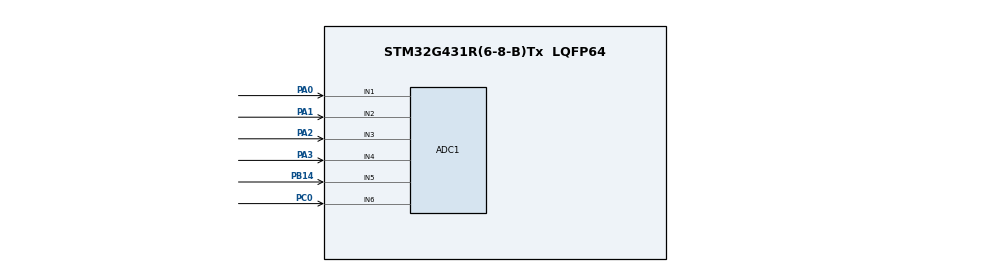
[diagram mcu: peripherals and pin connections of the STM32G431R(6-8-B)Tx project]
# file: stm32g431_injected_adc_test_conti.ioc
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ADC1.Channel-4\#ChannelRegularConversion=ADC_CHANNEL_1
ADC1.Channel-5\#ChannelRegularConversion=ADC_CHANNEL_2
ADC1.Channel-6\#ChannelRegularConversion=ADC_CHANNEL_3
ADC1.Channel-7\#ChannelRegularConversion=ADC_CHANNEL_4
ADC1.Channel-8\#ChannelRegularConversion=ADC_CHANNEL_5
ADC1.Channel-9\#ChannelRegularConversion=ADC_CHANNEL_6
ADC1.ContinuousConvMode=ENABLE
ADC1.DMAContinuousRequests=ENABLE
ADC1.EnableInjectedConversion=ENABLE
ADC1.EnableRegularConversion=ENABLE
ADC1.InjNumberOfConversion=2
ADC1.InjectedChannel-2\#ChannelInjectedConversion=ADC_CHANNEL_1
ADC1.InjectedChannel-3\#ChannelInjectedConversion=ADC_CHANNEL_1
ADC1.InjectedOffsetNumber-2\#ChannelInjectedConversion=ADC_OFFSET_NONE
ADC1.InjectedOffsetNumber-3\#ChannelInjectedConversion=ADC_OFFSET_NONE
ADC1.InjectedRank-2\#ChannelInjectedConversion=1
ADC1.InjectedRank-3\#ChannelInjectedConversion=2
ADC1.InjectedSamplingTime-2\#ChannelInjectedConversion=ADC_SAMPLETIME_2CYCLES_5
ADC1.InjectedSamplingTime-3\#ChannelInjectedConversion=ADC_SAMPLETIME_47CYCLES_5
ADC1.NbrOfConversion=6
ADC1.NbrOfConversionFlag=1
ADC1.OffsetNumber-4\#ChannelRegularConversion=ADC_OFFSET_NONE
ADC1.OffsetNumber-5\#ChannelRegularConversion=ADC_OFFSET_NONE
ADC1.OffsetNumber-6\#ChannelRegularConversion=ADC_OFFSET_NONE
ADC1.OffsetNumber-7\#ChannelRegularConversion=ADC_OFFSET_NONE
ADC1.OffsetNumber-8\#ChannelRegularConversion=ADC_OFFSET_NONE
ADC1.OffsetNumber-9\#ChannelRegularConversion=ADC_OFFSET_NONE
ADC1.Rank-4\#ChannelRegularConversion=1
ADC1.Rank-5\#ChannelRegularConversion=2
ADC1.Rank-6\#ChannelRegularConversion=3
ADC1.Rank-7\#ChannelRegularConversion=4
ADC1.Rank-8\#ChannelRegularConversion=5
ADC1.Rank-9\#ChannelRegularConversion=6
ADC1.SamplingTime-4\#ChannelRegularConversion=ADC_SAMPLETIME_47CYCLES_5
ADC1.SamplingTime-5\#ChannelRegularConversion=ADC_SAMPLETIME_47CYCLES_5
ADC1.SamplingTime-6\#ChannelRegularConversion=ADC_SAMPLETIME_47CYCLES_5
ADC1.SamplingTime-7\#ChannelRegularConversion=ADC_SAMPLETIME_47CYCLES_5
ADC1.SamplingTime-8\#ChannelRegularConversion=ADC_SAMPLETIME_47CYCLES_5
ADC1.SamplingTime-9\#ChannelRegularConversion=ADC_SAMPLETIME_47CYCLES_5
ADC1.master=1
Dma.ADC1.0.Direction=DMA_PERIPH_TO_MEMORY
Dma.ADC1.0.EventEnable=DISABLE
Dma.ADC1.0.Instance=DMA1_Channel1
Dma.ADC1.0.MemDataAlignment=DMA_MDATAALIGN_HALFWORD
Dma.ADC1.0.MemInc=DMA_MINC_ENABLE
Dma.ADC1.0.Mode=DMA_CIRCULAR
Dma.ADC1.0.PeriphDataAlignment=DMA_PDATAALIGN_HALFWORD
Dma.ADC1.0.PeriphInc=DMA_PINC_DISABLE
Dma.ADC1.0.Polarity=HAL_DMAMUX_REQ_GEN_RISING
Dma.ADC1.0.Priority=DMA_PRIORITY_LOW
Dma.ADC1.0.RequestNumber=1
Dma.ADC1.0.SignalID=NONE
Dma.ADC1.0.SyncEnable=DISABLE
Dma.ADC1.0.SyncPolarity=HAL_DMAMUX_SYNC_NO_EVENT
Dma.ADC1.0.SyncRequestNumber=1
Dma.ADC1.0.SyncSignalID=NONE
Dma.Request0=ADC1
Mcu.Family=STM32G4
Mcu.Name=STM32G431R(6-8-B)Tx
Mcu.Package=LQFP64
NVIC.DMA1_Channel1_IRQn=true\:0\:0\:false\:false\:true\:false\:true
NVIC.PriorityGroup=NVIC_PRIORITYGROUP_4
PA0.Mode=IN1-Single-Ended
PA0.Signal=ADC1_IN1
PA1.Mode=IN2-Single-Ended
PA1.Signal=ADC1_IN2
PA13.Mode=Serial_Wire
PA13.Signal=SYS_JTMS-SWDIO
PA14.Mode=Serial_Wire
PA14.Signal=SYS_JTCK-SWCLK
PA2.Mode=IN3-Single-Ended
PA2.Signal=ADC1_IN3
PA3.Mode=IN4-Single-Ended
PA3.Signal=ADC1_IN4
PB14.Mode=IN5-Single-Ended
PB14.Signal=ADC1_IN5
PC0.Mode=IN6-Single-Ended
PC0.Signal=ADC1_IN6
PF0-OSC_IN.Mode=HSE-External-Oscillator
PF0-OSC_IN.Signal=RCC_OSC_IN
PF1-OSC_OUT.Mode=HSE-External-Oscillator
PF1-OSC_OUT.Signal=RCC_OSC_OUT
ProjectManager.HeapSize=0x200
ProjectManager.StackSize=0x400
ProjectManager.TargetToolchain=MDK-ARM V5
RCC.ADC12CLockSelection=RCC_ADC12CLKSOURCE_PLL
RCC.ADC12Freq_Value=48571428.571428575
RCC.AHBFreq_Value=170000000
RCC.APB1Freq_Value=170000000
RCC.APB1TimFreq_Value=170000000
RCC.APB2Freq_Value=170000000
RCC.APB2TimFreq_Value=170000000
RCC.CortexFreq_Value=170000000
RCC.EXTERNAL_CLOCK_VALUE=12288000
RCC.HCLKFreq_Value=170000000
RCC.HSE_VALUE=24000000
RCC.HSI48_VALUE=48000000
RCC.HSI_VALUE=16000000
RCC.LSE_VALUE=32768
RCC.PLLM=RCC_PLLM_DIV6
RCC.PLLN=85
RCC.PLLP=RCC_PLLP_DIV7
RCC.PLLSourceVirtual=RCC_PLLSOURCE_HSE
RCC.SYSCLKFreq_VALUE=170000000
RCC.SYSCLKSource=RCC_SYSCLKSOURCE_PLLCLK
RCC.USBFreq_Value=170000000
RCC.VCOOutputFreq_Value=340000000
VP_SYS_VS_DBSignals.Mode=DisableDeadBatterySignals
board=custom

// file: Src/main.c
/* USER CODE BEGIN Header */
/**
  ******************************************************************************
  * @file           : main.c
  * @brief          : Main program body
  ******************************************************************************
  * @attention
  *
  * <h2><center>&copy; Copyright (c) 2020 STMicroelectronics.
  * All rights reserved.</center></h2>
  *
  * This software component is licensed by ST under BSD 3-Clause license,
  * the "License"; You may not use this file except in compliance with the
  * License. You may obtain a copy of the License at:
  *                        opensource.org/licenses/BSD-3-Clause
  *
  ******************************************************************************
  */
/* USER CODE END Header */

#include "main.h"
#include "adc.h"
#include "dma.h"
#include "gpio.h"

void SystemClock_Config(void);

/* USER CODE BEGIN 0 */
 #define VAR_CONVERTED_DATA_INIT_VALUE    (__LL_ADC_DIGITAL_SCALE(LL_ADC_RESOLUTION_12B) + 1)
 #define ADC_CONVERTED_DATA_BUFFER_SIZE	(6)

__IO uint16_t uhADCxConvertedData[ADC_CONVERTED_DATA_BUFFER_SIZE] = {
	VAR_CONVERTED_DATA_INIT_VALUE,
	VAR_CONVERTED_DATA_INIT_VALUE,
	VAR_CONVERTED_DATA_INIT_VALUE,
	VAR_CONVERTED_DATA_INIT_VALUE,
	VAR_CONVERTED_DATA_INIT_VALUE,
	VAR_CONVERTED_DATA_INIT_VALUE
};
__IO uint16_t uhInjADCxConvertedData1 = VAR_CONVERTED_DATA_INIT_VALUE; /* ADC group regular conversion data */
__IO uint16_t uhInjADCxConvertedData2 = VAR_CONVERTED_DATA_INIT_VALUE; /* ADC group regular conversion data */

static void Initialize_DMA_ADC(void);
static void Activate_ADC(void);
/* USER CODE END 0 */

int main(void)
{

  /* MCU Configuration--------------------------------------------------------*/

  /* Reset of all peripherals, Initializes the Flash interface and the Systick. */
  HAL_Init();

  /* Configure the system clock */
  SystemClock_Config();

  /* Initialize all configured peripherals */
  MX_GPIO_Init();
  MX_DMA_Init();
  MX_ADC1_Init();
  /* USER CODE BEGIN 2 */
	Activate_ADC();
	Initialize_DMA_ADC();

  LL_ADC_DisableIT_JEOC(ADC1);
  LL_ADC_DisableIT_JEOS(ADC1);
  LL_ADC_DisableIT_EOC(ADC1);
  LL_ADC_DisableIT_EOS(ADC1);

//#define ADC_AUTDLY_ACTIVE
#ifdef ADC_AUTDLY_ACTIVE
	LL_ADC_SetLowPowerMode(ADC1, LL_ADC_LP_AUTOWAIT);
#endif
		if ((LL_ADC_IsEnabled(ADC1) == 1)               &&
				(LL_ADC_IsDisableOngoing(ADC1) == 0)        &&
				(LL_ADC_REG_IsConversionOngoing(ADC1) == 0)   )
		{
			LL_ADC_REG_StartConversion(ADC1);
		}
  /* USER CODE END 2 */

  /* Infinite loop */
  /* USER CODE BEGIN WHILE */
  while (1)
  {
		if ((LL_ADC_IsEnabled(ADC1) == 1) &&
				(LL_ADC_IsDisableOngoing(ADC1) == 0) &&
				(LL_ADC_INJ_IsConversionOngoing(ADC1) == 0))
		{
			LL_ADC_INJ_StartConversion(ADC1);
		}

		while (LL_ADC_IsActiveFlag_JEOS(ADC1) == 0);
		uhInjADCxConvertedData1 = LL_ADC_INJ_ReadConversionData12(ADC1, LL_ADC_INJ_RANK_1);
		uhInjADCxConvertedData2 = LL_ADC_INJ_ReadConversionData12(ADC1, LL_ADC_INJ_RANK_2);

		LL_ADC_ClearFlag_JEOS(ADC1);

		if(uhInjADCxConvertedData1 == 0x00)
		{
			//Do something
			uhInjADCxConvertedData1 = 0xFFFF;
		}

		if(uhInjADCxConvertedData2 > 0x30)
		{
			//Do something
		}
    /* USER CODE END WHILE */

  }
}

void SystemClock_Config(void)
{
  LL_FLASH_SetLatency(LL_FLASH_LATENCY_8);
  LL_PWR_EnableRange1BoostMode();
  LL_RCC_HSE_Enable();

   /* Wait till HSE is ready */
  while(LL_RCC_HSE_IsReady() != 1)
  {

  }
  LL_RCC_PLL_ConfigDomain_SYS(LL_RCC_PLLSOURCE_HSE, LL_RCC_PLLM_DIV_6, 85, LL_RCC_PLLR_DIV_2);
  LL_RCC_PLL_ConfigDomain_ADC(LL_RCC_PLLSOURCE_HSE, LL_RCC_PLLM_DIV_6, 85, LL_RCC_PLLP_DIV_7);
  LL_RCC_PLL_EnableDomain_SYS();
  LL_RCC_PLL_EnableDomain_ADC();
  LL_RCC_PLL_Enable();

   /* Wait till PLL is ready */
  while(LL_RCC_PLL_IsReady() != 1)
  {

  }
  LL_RCC_SetSysClkSource(LL_RCC_SYS_CLKSOURCE_PLL);
  LL_RCC_SetAHBPrescaler(LL_RCC_SYSCLK_DIV_2);

   /* Wait till System clock is ready */
  while(LL_RCC_GetSysClkSource() != LL_RCC_SYS_CLKSOURCE_STATUS_PLL)
  {

  }
  /* Insure 1?s transition state at intermediate medium speed clock based on DWT */
  CoreDebug->DEMCR |= CoreDebug_DEMCR_TRCENA_Msk;
  DWT->CTRL |= DWT_CTRL_CYCCNTENA_Msk;
  DWT->CYCCNT = 0;
  while(DWT->CYCCNT < 100);
  /* Set AHB prescaler*/
  LL_RCC_SetAHBPrescaler(LL_RCC_SYSCLK_DIV_1);
  LL_RCC_SetAPB1Prescaler(LL_RCC_APB1_DIV_1);
  LL_RCC_SetAPB2Prescaler(LL_RCC_APB1_DIV_1);
  LL_SetSystemCoreClock(170000000);

   /* Update the time base */
  if (HAL_InitTick (TICK_INT_PRIORITY) != HAL_OK)
  {
    Error_Handler();
  };
  LL_RCC_SetADCClockSource(LL_RCC_ADC12_CLKSOURCE_PLL);
}

/* USER CODE BEGIN 4 */
#define ADC_DELAY_CALIB_ENABLE_CPU_CYCLES  (LL_ADC_DELAY_CALIB_ENABLE_ADC_CYCLES * 32)
static void Activate_ADC(void)
{
  __IO uint32_t wait_loop_index = 0U;
  #if (USE_TIMEOUT == 1)
  uint32_t Timeout = 0U; /* Variable used for timeout management */
  #endif /* USE_TIMEOUT */

  /*## Operation on ADC hierarchical scope: ADC instance #####################*/

  /* Note: Hardware constraint (refer to description of the functions         */
  /*       below):                                                            */
  /*       On this STM32 serie, setting of these features is conditioned to   */
  /*       ADC state:                                                         */
  /*       ADC must be disabled.                                              */
  /* Note: In this example, all these checks are not necessary but are        */
  /*       implemented anyway to show the best practice usages                */
  /*       corresponding to reference manual procedure.                       */
  /*       Software can be optimized by removing some of these checks, if     */
  /*       they are not relevant considering previous settings and actions    */
  /*       in user application.                                               */
  if (LL_ADC_IsEnabled(ADC1) == 0)
  {
    /* Disable ADC deep power down (enabled by default after reset state) */
    LL_ADC_DisableDeepPowerDown(ADC1);

    /* Enable ADC internal voltage regulator */
    LL_ADC_EnableInternalRegulator(ADC1);

    /* Delay for ADC internal voltage regulator stabilization.                */
    /* Compute number of CPU cycles to wait for, from delay in us.            */
    /* Note: Variable divided by 2 to compensate partially                    */
    /*       CPU processing cycles (depends on compilation optimization).     */
    /* Note: If system core clock frequency is below 200kHz, wait time        */
    /*       is only a few CPU processing cycles.                             */
    wait_loop_index = ((LL_ADC_DELAY_INTERNAL_REGUL_STAB_US * (SystemCoreClock / (100000 * 2))) / 10);
    while(wait_loop_index != 0)
    {
      wait_loop_index--;
    }

    /* Run ADC self calibration */
    LL_ADC_StartCalibration(ADC1, LL_ADC_SINGLE_ENDED);

    /* Poll for ADC effectively calibrated */
    #if (USE_TIMEOUT == 1)
    Timeout = ADC_CALIBRATION_TIMEOUT_MS;
    #endif /* USE_TIMEOUT */

    while (LL_ADC_IsCalibrationOnGoing(ADC1) != 0)
    {
    #if (USE_TIMEOUT == 1)
      /* Check Systick counter flag to decrement the time-out value */
      if (LL_SYSTICK_IsActiveCounterFlag())
      {
        if(Timeout-- == 0)
        {
        /* Time-out occurred. Set LED to blinking mode */
        LED_Blinking(LED_BLINK_ERROR);
        }
      }
    #endif /* USE_TIMEOUT */
    }

    /* Delay between ADC end of calibration and ADC enable.                   */
    /* Note: Variable divided by 2 to compensate partially                    */
    /*       CPU processing cycles (depends on compilation optimization).     */
    wait_loop_index = (ADC_DELAY_CALIB_ENABLE_CPU_CYCLES >> 1);
    while(wait_loop_index != 0)
    {
      wait_loop_index--;
    }

    /* Enable ADC */
    LL_ADC_Enable(ADC1);

    /* Poll for ADC ready to convert */
    #if (USE_TIMEOUT == 1)
    Timeout = ADC_ENABLE_TIMEOUT_MS;
    #endif /* USE_TIMEOUT */

    while (LL_ADC_IsActiveFlag_ADRDY(ADC1) == 0)
    {
    #if (USE_TIMEOUT == 1)
      /* Check Systick counter flag to decrement the time-out value */
      if (LL_SYSTICK_IsActiveCounterFlag())
      {
        if(Timeout-- == 0)
        {
        /* Time-out occurred. Set LED to blinking mode */
        LED_Blinking(LED_BLINK_ERROR);
        }
      }
    #endif /* USE_TIMEOUT */
    }

    /* Note: ADC flag ADRDY is not cleared here to be able to check ADC       */
    /*       status afterwards.                                               */
    /*       This flag should be cleared at ADC Deactivation, before a new    */
    /*       ADC activation, using function "LL_ADC_ClearFlag_ADRDY()".       */
  }

  /*## Operation on ADC hierarchical scope: ADC group regular ################*/
  /* Note: No operation on ADC group regular performed here.                  */
  /*       ADC group regular conversions to be performed after this function  */
  /*       using function:                                                    */
  /*       "LL_ADC_REG_StartConversion();"                                    */

  /*## Operation on ADC hierarchical scope: ADC group injected ###############*/
  /* Note: No operation on ADC group injected performed here.                 */
  /*       ADC group injected conversions to be performed after this function */
  /*       using function:                                                    */
  /*       "LL_ADC_INJ_StartConversion();"                                    */

}

void Initialize_DMA_ADC(void)
{
  /* Select ADC as DMA transfer request */
  LL_DMA_SetPeriphRequest(DMA1,  LL_DMA_CHANNEL_1, LL_DMAMUX_REQ_ADC1);

  /* Set DMA transfer addresses of source and destination */
  LL_DMA_ConfigAddresses(DMA1,
                         LL_DMA_CHANNEL_1,
                         LL_ADC_DMA_GetRegAddr(ADC1, LL_ADC_DMA_REG_REGULAR_DATA),
                         (uint32_t)&uhADCxConvertedData,
                         LL_DMA_DIRECTION_PERIPH_TO_MEMORY);

  /* Set DMA transfer size */
  LL_DMA_SetDataLength(DMA1, LL_DMA_CHANNEL_1, ADC_CONVERTED_DATA_BUFFER_SIZE);

  /* Enable DMA transfer interruption: transfer complete */
  LL_DMA_EnableIT_TC(DMA1, LL_DMA_CHANNEL_1);

  /* Enable DMA transfer interruption: half transfer */
  //LL_DMA_EnableIT_HT(DMA1, LL_DMA_CHANNEL_2);

  /* Enable DMA transfer interruption: transfer error */
  LL_DMA_EnableIT_TE(DMA1, LL_DMA_CHANNEL_1);

  /*## Activation of DMA #####################################################*/
  /* Enable the DMA transfer */
  LL_DMA_EnableChannel(DMA1, LL_DMA_CHANNEL_1);
}
/* USER CODE END 4 */

void Error_Handler(void)
{
}

/************************ (C) COPYRIGHT STMicroelectronics *****END OF FILE****/
